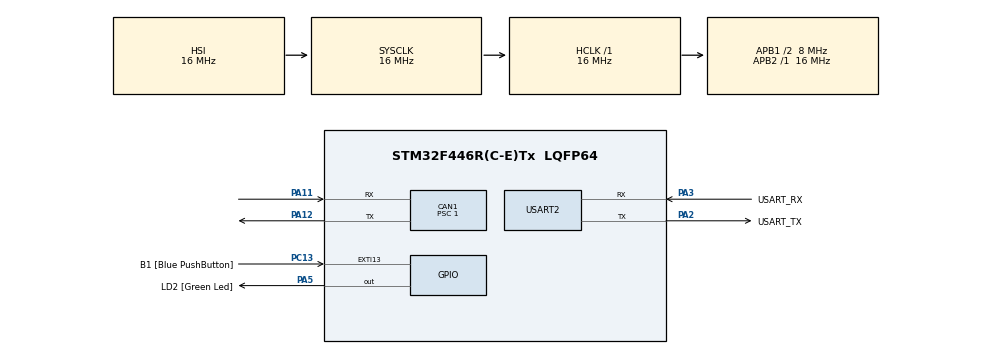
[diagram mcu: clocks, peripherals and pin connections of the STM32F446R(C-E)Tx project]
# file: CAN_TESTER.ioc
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CAN1.BS1=CAN_BS1_5TQ
CAN1.BS2=CAN_BS2_2TQ
CAN1.CalculateBaudRate=1000000
CAN1.CalculateTimeBit=1000
CAN1.CalculateTimeQuantum=125.0
CAN1.Prescaler=1
Mcu.Family=STM32F4
Mcu.Name=STM32F446R(C-E)Tx
Mcu.Package=LQFP64
NVIC.CAN1_RX0_IRQn=true\:0\:0\:false\:false\:true\:true\:true\:true
NVIC.CAN1_RX1_IRQn=true\:0\:0\:false\:false\:true\:true\:true\:true
NVIC.CAN1_TX_IRQn=true\:0\:0\:false\:false\:true\:true\:true\:true
NVIC.PriorityGroup=NVIC_PRIORITYGROUP_0
NVIC.USART2_IRQn=true\:0\:0\:false\:false\:true\:true\:true\:true
PA11.Mode=CAN_Activate
PA11.Signal=CAN1_RX
PA12.Mode=CAN_Activate
PA12.Signal=CAN1_TX
PA13.GPIO_Label=TMS
PA13.Mode=Serial_Wire
PA13.Signal=SYS_JTMS-SWDIO
PA14.GPIO_Label=TCK
PA14.Mode=Serial_Wire
PA14.Signal=SYS_JTCK-SWCLK
PA2.GPIO_Label=USART_TX
PA2.Mode=Asynchronous
PA2.Signal=USART2_TX
PA3.GPIO_Label=USART_RX
PA3.Mode=Asynchronous
PA3.Signal=USART2_RX
PA5.GPIO_Label=LD2 [Green Led]
PA5.Signal=GPIO_Output
PB3.GPIO_Label=SWO
PB3.Signal=SYS_JTDO-SWO
PC13.GPIO_Label=B1 [Blue PushButton]
PC13.GPIO_ModeDefaultEXTI=GPIO_MODE_IT_FALLING
PC13.Signal=GPXTI13
PC14-OSC32_IN.Mode=LSE-External-Oscillator
PC14-OSC32_IN.Signal=RCC_OSC32_IN
PC15-OSC32_OUT.Mode=LSE-External-Oscillator
PC15-OSC32_OUT.Signal=RCC_OSC32_OUT
PH0-OSC_IN.Mode=HSE-External-Oscillator
PH0-OSC_IN.Signal=RCC_OSC_IN
PH1-OSC_OUT.Mode=HSE-External-Oscillator
PH1-OSC_OUT.Signal=RCC_OSC_OUT
ProjectManager.HeapSize=0x200
ProjectManager.StackSize=0x400
ProjectManager.TargetToolchain=STM32CubeIDE
RCC.48MHZClocksFreq_Value=84000000
RCC.AHBFreq_Value=16000000
RCC.APB1CLKDivider=RCC_HCLK_DIV2
RCC.APB1Freq_Value=8000000
RCC.APB1TimFreq_Value=16000000
RCC.APB2Freq_Value=16000000
RCC.APB2TimFreq_Value=16000000
RCC.CortexFreq_Value=16000000
RCC.FLatency-AdvancedSettings=FLASH_LATENCY_0
RCC.HCLKFreq_Value=16000000
RCC.HSE_VALUE=8000000
RCC.HSI_VALUE=16000000
RCC.PLLN=336
RCC.PLLP=RCC_PLLP_DIV4
RCC.SYSCLKFreq_VALUE=16000000
RCC.USBFreq_Value=168000000
RCC.VCOOutputFreq_Value=336000000
USART2.VirtualMode=VM_ASYNC
board=NUCLEO-F446RE

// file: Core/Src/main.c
/* USER CODE BEGIN Header */
/**
  ******************************************************************************
  * @file           : main.c
  * @brief          : Main program body
  ******************************************************************************
  * @attention
  *
  * Copyright (c) 2026 STMicroelectronics.
  * All rights reserved.
  *
  * This software is licensed under terms that can be found in the LICENSE file
  * in the root directory of this software component.
  * If no LICENSE file comes with this software, it is provided AS-IS.
  *
  ******************************************************************************
  */
/* USER CODE END Header */
#include "main.h"

CAN_HandleTypeDef hcan1;

UART_HandleTypeDef huart2;

/* USER CODE BEGIN PV */
uint8_t rxData[8];
/* USER CODE END PV */

void SystemClock_Config(void);
static void MX_GPIO_Init(void);
static void MX_USART2_UART_Init(void);
static void MX_CAN1_Init(void);

/* USER CODE BEGIN 0 */
void HAL_CAN_RxFifo0MsgPendingCallback(CAN_HandleTypeDef *hcan) {
    CAN_RxHeaderTypeDef RxHeader;
    uint8_t RxData[8];
    if (HAL_CAN_GetRxMessage(hcan, CAN_RX_FIFO0, &RxHeader, RxData) == HAL_OK) {
        if (RxHeader.StdId == 0x400) {
            for (int i = 0; i < 7; i++) {
                rxData[i] = RxData[i];
            }
        }
    }
}

/* USER CODE END 0 */

int main(void)
{

  /* MCU Configuration--------------------------------------------------------*/

  /* Reset of all peripherals, Initializes the Flash interface and the Systick. */
  HAL_Init();

  /* Configure the system clock */
  SystemClock_Config();

  /* Initialize all configured peripherals */
  MX_GPIO_Init();
  MX_USART2_UART_Init();
  MX_CAN1_Init();
  /* USER CODE BEGIN 2 */
  HAL_CAN_Start(&hcan1);
  HAL_CAN_ActivateNotification(&hcan1, CAN_IT_RX_FIFO0_MSG_PENDING);
  /* USER CODE END 2 */

  /* Infinite loop */
  /* USER CODE BEGIN WHILE */
  uint32_t last_tick = 0;
    while (1)
    {
        if (HAL_GetTick() - last_tick >= 50) { // 50ms interval
            last_tick = HAL_GetTick();

            char buff[128];
            int size = snprintf(buff, sizeof(buff),
                                "CTRL:%02X %02X %02X %02X %02X %02X\r\n",
                                (unsigned int)rxData[0], (unsigned int)rxData[1],
                                (unsigned int)rxData[2], (unsigned int)rxData[3],
                                (unsigned int)rxData[4], (unsigned int)rxData[5]);
            HAL_UART_Transmit_IT(&huart2, (uint8_t*)buff, size);
        }
    /* USER CODE END WHILE */

  }
}

void SystemClock_Config(void)
{
  RCC_OscInitTypeDef RCC_OscInitStruct = {0};
  RCC_ClkInitTypeDef RCC_ClkInitStruct = {0};

  /** Configure the main internal regulator output voltage
  */
  __HAL_RCC_PWR_CLK_ENABLE();
  __HAL_PWR_VOLTAGESCALING_CONFIG(PWR_REGULATOR_VOLTAGE_SCALE3);

  /** Initializes the RCC Oscillators according to the specified parameters
  * in the RCC_OscInitTypeDef structure.
  */
  RCC_OscInitStruct.OscillatorType = RCC_OSCILLATORTYPE_HSI;
  RCC_OscInitStruct.HSIState = RCC_HSI_ON;
  RCC_OscInitStruct.HSICalibrationValue = RCC_HSICALIBRATION_DEFAULT;
  RCC_OscInitStruct.PLL.PLLState = RCC_PLL_NONE;
  if (HAL_RCC_OscConfig(&RCC_OscInitStruct) != HAL_OK)
  {
    Error_Handler();
  }

  /** Initializes the CPU, AHB and APB buses clocks
  */
  RCC_ClkInitStruct.ClockType = RCC_CLOCKTYPE_HCLK|RCC_CLOCKTYPE_SYSCLK
                              |RCC_CLOCKTYPE_PCLK1|RCC_CLOCKTYPE_PCLK2;
  RCC_ClkInitStruct.SYSCLKSource = RCC_SYSCLKSOURCE_HSI;
  RCC_ClkInitStruct.AHBCLKDivider = RCC_SYSCLK_DIV1;
  RCC_ClkInitStruct.APB1CLKDivider = RCC_HCLK_DIV2;
  RCC_ClkInitStruct.APB2CLKDivider = RCC_HCLK_DIV1;

  if (HAL_RCC_ClockConfig(&RCC_ClkInitStruct, FLASH_LATENCY_0) != HAL_OK)
  {
    Error_Handler();
  }
}

static void MX_CAN1_Init(void)
{

  hcan1.Instance = CAN1;
  hcan1.Init.Prescaler = 1;
  hcan1.Init.Mode = CAN_MODE_NORMAL;
  hcan1.Init.SyncJumpWidth = CAN_SJW_1TQ;
  hcan1.Init.TimeSeg1 = CAN_BS1_5TQ;
  hcan1.Init.TimeSeg2 = CAN_BS2_2TQ;
  hcan1.Init.TimeTriggeredMode = DISABLE;
  hcan1.Init.AutoBusOff = DISABLE;
  hcan1.Init.AutoWakeUp = DISABLE;
  hcan1.Init.AutoRetransmission = DISABLE;
  hcan1.Init.ReceiveFifoLocked = DISABLE;
  hcan1.Init.TransmitFifoPriority = DISABLE;
  if (HAL_CAN_Init(&hcan1) != HAL_OK)
  {
    Error_Handler();
  }
  /* USER CODE BEGIN CAN1_Init 2 */
  CAN_FilterTypeDef filter;
  filter.FilterIdHigh           = 0x400 << 5;               // フィルターID上位16bit
  filter.FilterIdLow            = 0;                        // フィルターID下位16bit
  filter.FilterMaskIdHigh       = 0x000 << 5;                   // フィルターマスクID上位16bit
  filter.FilterMaskIdLow        = 0;                        // フィルターマスクID下位16bit
  filter.FilterScale            = CAN_FILTERSCALE_32BIT;    // 32ビットモード
  filter.FilterFIFOAssignment   = CAN_FILTER_FIFO0;         // FIFO0へ格納
  filter.FilterBank	            = 0;
  filter.FilterMode             = CAN_FILTERMODE_IDMASK;    // IDマスクモード
  filter.SlaveStartFilterBank   = 14;
  filter.FilterActivation       = ENABLE;

  HAL_CAN_ConfigFilter(&hcan1, &filter);
  /* USER CODE END CAN1_Init 2 */

}

static void MX_USART2_UART_Init(void)
{

  huart2.Instance = USART2;
  huart2.Init.BaudRate = 115200;
  huart2.Init.WordLength = UART_WORDLENGTH_8B;
  huart2.Init.StopBits = UART_STOPBITS_1;
  huart2.Init.Parity = UART_PARITY_NONE;
  huart2.Init.Mode = UART_MODE_TX_RX;
  huart2.Init.HwFlowCtl = UART_HWCONTROL_NONE;
  huart2.Init.OverSampling = UART_OVERSAMPLING_16;
  if (HAL_UART_Init(&huart2) != HAL_OK)
  {
    Error_Handler();
  }

}

static void MX_GPIO_Init(void)
{
  GPIO_InitTypeDef GPIO_InitStruct = {0};

  /* GPIO Ports Clock Enable */
  __HAL_RCC_GPIOC_CLK_ENABLE();
  __HAL_RCC_GPIOH_CLK_ENABLE();
  __HAL_RCC_GPIOA_CLK_ENABLE();
  __HAL_RCC_GPIOB_CLK_ENABLE();

  /*Configure GPIO pin Output Level */
  HAL_GPIO_WritePin(LD2_GPIO_Port, LD2_Pin, GPIO_PIN_RESET);

  /*Configure GPIO pin : B1_Pin */
  GPIO_InitStruct.Pin = B1_Pin;
  GPIO_InitStruct.Mode = GPIO_MODE_IT_FALLING;
  GPIO_InitStruct.Pull = GPIO_NOPULL;
  HAL_GPIO_Init(B1_GPIO_Port, &GPIO_InitStruct);

  /*Configure GPIO pin : LD2_Pin */
  GPIO_InitStruct.Pin = LD2_Pin;
  GPIO_InitStruct.Mode = GPIO_MODE_OUTPUT_PP;
  GPIO_InitStruct.Pull = GPIO_NOPULL;
  GPIO_InitStruct.Speed = GPIO_SPEED_FREQ_LOW;
  HAL_GPIO_Init(LD2_GPIO_Port, &GPIO_InitStruct);

}

void Error_Handler(void)
{
  __disable_irq();
  while (1)
  {
  }
}
